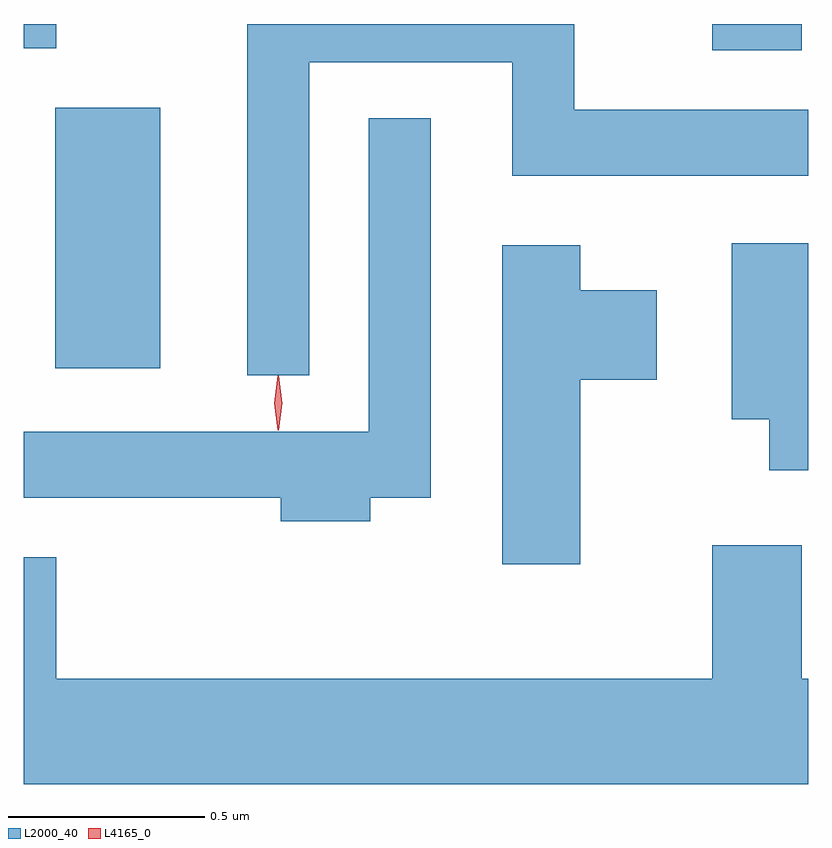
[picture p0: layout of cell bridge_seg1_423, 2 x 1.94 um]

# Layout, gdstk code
import gdstk
lib = gdstk.Library(unit=1e-6, precision=1e-09)
def R(c, l, rs):  # rectangles x0, y0, x1, y1
    for r in rs: c.add(gdstk.rectangle(r[:2], r[2:], *l))
def P(c, l, *ps):  # polygons
    for p in ps: c.add(gdstk.Polygon(p, *l))
L2000_40 = (2000, 40)
L4165_0 = (4165, 0)

bridge_seg1_423 = lib.new_cell('bridge_seg1_423')
R(bridge_seg1_423, L2000_40, [(556.776,971.676,557.044,972.339), (558.451,972.486,558.679,972.553), (556.696,972.491,556.779,972.553)])
P(bridge_seg1_423, L2000_40, [(557.424,972.456),(557.941,972.456),(557.941,972.166),(558.696,972.166),(558.696,972.334),(558.099,972.334),(558.099,972.553),(557.266,972.553),(557.266,971.658),(557.424,971.658)],
  [(557.579,971.346),(557.734,971.346),(557.734,972.313),(557.576,972.313),(557.576,971.514),(556.696,971.514),(556.696,971.346),(557.351,971.346),(557.351,971.286),(557.579,971.286)],
  [(558.696,971.994),(558.501,971.994),(558.501,971.546),(558.596,971.546),(558.596,971.416),(558.696,971.416)],
  [(558.114,971.646),(558.309,971.646),(558.309,971.874),(558.114,971.874),(558.114,971.989),(557.916,971.989),(557.916,971.176),(558.114,971.176)],
  [(558.696,970.884),(558.679,970.884),(558.679,971.224),(558.451,971.224),(558.451,970.884),(556.779,970.884),(556.779,971.194),(556.696,971.194),(556.696,970.616),(558.696,970.616)])
P(bridge_seg1_423, L4165_0, [(557.344,971.517),(557.335,971.586),(557.344,971.656),(557.345,971.656),(557.346,971.656),(557.355,971.586),(557.346,971.517),(557.345,971.517)],
  [(557.345,971.519),(557.344,971.52),(557.335,971.586),(557.344,971.652),(557.345,971.653),(557.345,971.652),(557.355,971.586),(557.345,971.52)])

lib.write_gds('bridge_seg1_423.gds')
